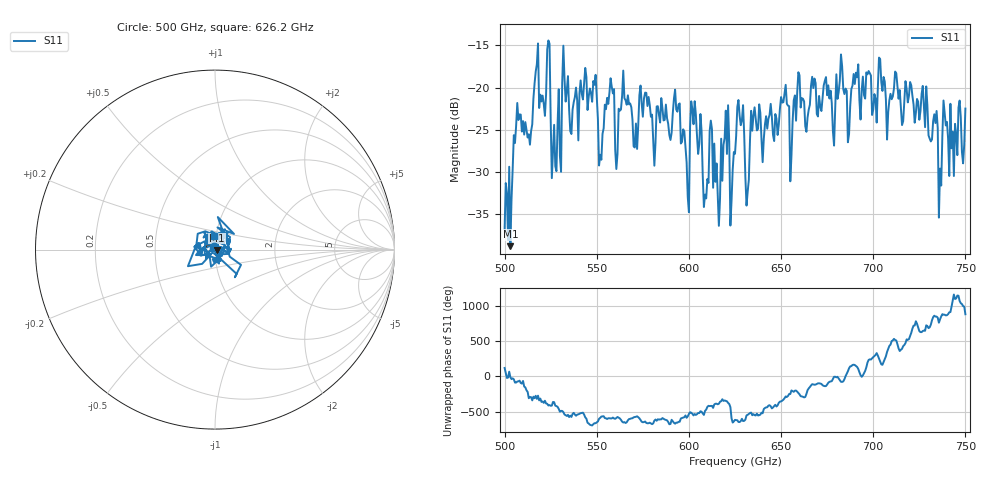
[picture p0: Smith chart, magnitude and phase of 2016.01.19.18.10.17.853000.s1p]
!Created with skrf (http://scikit-rf.org).
# GHz S RI R 50.0
!freq ReS11 ImS11
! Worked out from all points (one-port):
!   401 points, 500 GHz to 750 GHz, reference 50 ohm
!   lowest |S11| = -38.7 dB at 503.1 GHz (marker M1), VSWR 1.02, Z = 51.1 - j0.274 ohm
!   |S11| at or under -10 dB: start of sweep to end of sweep
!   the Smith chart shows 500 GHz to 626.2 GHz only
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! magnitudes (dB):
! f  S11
! 500 GHz  -36.8
! 503.1 GHz  -38.7
! 506.2 GHz  -24.5
! 513.8 GHz  -26.8
! 516.9 GHz  -18.1
! 523.8 GHz  -14.4
! 526.9 GHz  -24.4
! 531.2 GHz  -19.4
! 562.5 GHz  -22.7
! 593.8 GHz  -22.9
! 598.8 GHz  -28.8
! 602.5 GHz  -24.3
! 609.4 GHz  -33.1
! 612.5 GHz  -24.9
! 615.6 GHz  -32.8
! 620 GHz  -22.7
! 623.8 GHz  -29.7
! 625 GHz  -27.8
! 628.1 GHz  -24.5
! 631.9 GHz  -32.3
! 635 GHz  -23.3
! 656.2 GHz  -24.0
! 667.5 GHz  -20.1
! 687.5 GHz  -22.2
! 718.8 GHz  -21.8
! 736.2 GHz  -29.6
! 738.8 GHz  -23.0
! 750 GHz  -22.5
